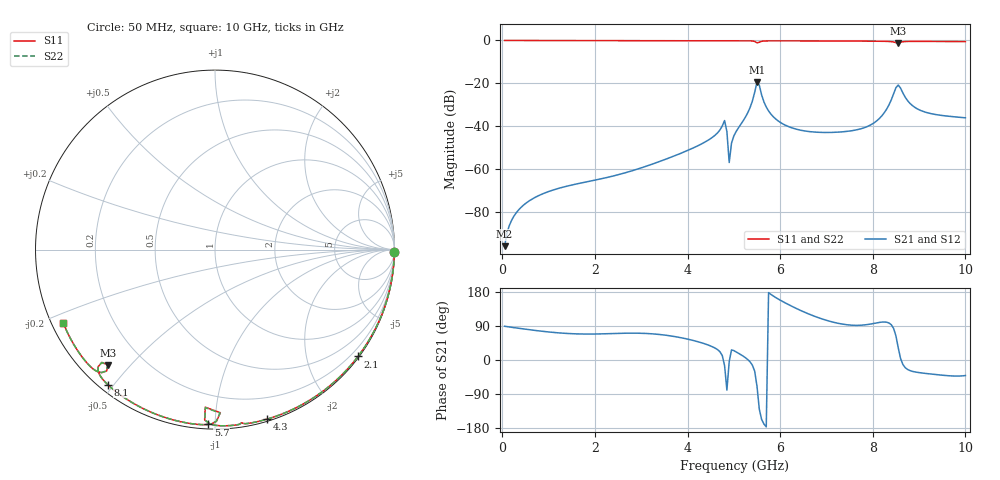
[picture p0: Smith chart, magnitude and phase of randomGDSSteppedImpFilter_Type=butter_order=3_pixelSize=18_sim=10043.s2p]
! freq	dB(S11)	phase(S11)	dB(S12)	phase(S12)
!  dB(S21)	phase(S21)	dB(S22)	phase(S22)
!S-par simulation data
#  GHz  S  DB  R 50
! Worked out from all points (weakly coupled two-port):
!   200 points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, 50 MHz to 10 GHz, reference 50 ohm
!   highest |S21| = -19.43 dB at 5.5 GHz (marker M1); lowest = -96.1 dB at 50 MHz (marker M2)
!   lowest |S11| = -1.1 dB at 8.55 GHz (marker M3), VSWR 15.14, Z = 3.93 - j21.7 ohm
!   |S11| at or under -10 dB: nowhere
!   |S22| runs from -1.1 to 0.0 dB; largest |S21 - S12| = 0
!   S11 on the Smith chart (normalised r, x): 50 MHz: open; 2.1 GHz: 0.03, -3.01; 4.3 GHz: 0.02, -1.35; 5.7 GHz: 0.02, -0.96; 8.1 GHz: 0.02, -0.48; 10 GHz: 0.03, -0.23
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0.05  -0.00 -0.9  -96.06 89.0  -96.06 89.0  -0.00 -0.9
1.75  -0.04 -30.8  -66.34 68.5  -66.34 68.5  -0.04 -30.8
2.1  -0.05 -36.8  -64.76 68.8  -64.76 68.8  -0.05 -36.8
3.4  -0.08 -58.4  -56.49 67.3  -56.49 67.3  -0.08 -58.5
4.3  -0.10 -72.9  -48.34 45.6  -48.34 45.6  -0.10 -72.9
4.65  -0.12 -78.5  -43.10 27.2  -43.10 27.2  -0.12 -78.5
4.8  -0.19 -81.1  -37.41 -14.7  -37.41 -14.7  -0.19 -81.2
4.85  -0.21 -81.2  -42.55 -79.5  -42.55 -79.5  -0.21 -81.2
4.9  -0.15 -82.0  -56.99 -4.2  -56.99 -4.2  -0.15 -82.0
4.95  -0.14 -82.9  -47.92 26.7  -47.92 26.7  -0.14 -82.9
5.05  -0.14 -84.6  -42.51 21.4  -42.51 21.4  -0.14 -84.6
5.35  -0.20 -90.3  -31.37 -4.9  -31.37 -4.9  -0.19 -90.3
5.5  -1.11 -93.5  -19.43 -69.4  -19.43 -69.4  -1.09 -93.5
5.7  -0.22 -92.2  -31.08 -176.5  -31.08 -176.5  -0.22 -92.3
6.05  -0.19 -98.4  -38.87 154.6  -38.87 154.6  -0.19 -98.4
6.7  -0.22 -108.1  -42.70 117.4  -42.70 117.4  -0.22 -108.1
7.6  -0.29 -121.0  -41.95 91.5  -41.95 91.5  -0.29 -121.1
8.1  -0.35 -128.5  -37.28 98.3  -37.28 98.3  -0.35 -128.5
8.35  -0.47 -132.9  -30.08 97.7  -30.08 97.7  -0.47 -132.9
8.55  -1.15 -132.9  -20.80 32.1  -20.80 32.1  -1.14 -132.9
9  -0.42 -139.2  -32.36 -33.3  -32.36 -33.3  -0.42 -139.3
10  -0.55 -154.1  -36.12 -41.0  -36.12 -41.0  -0.55 -154.2
